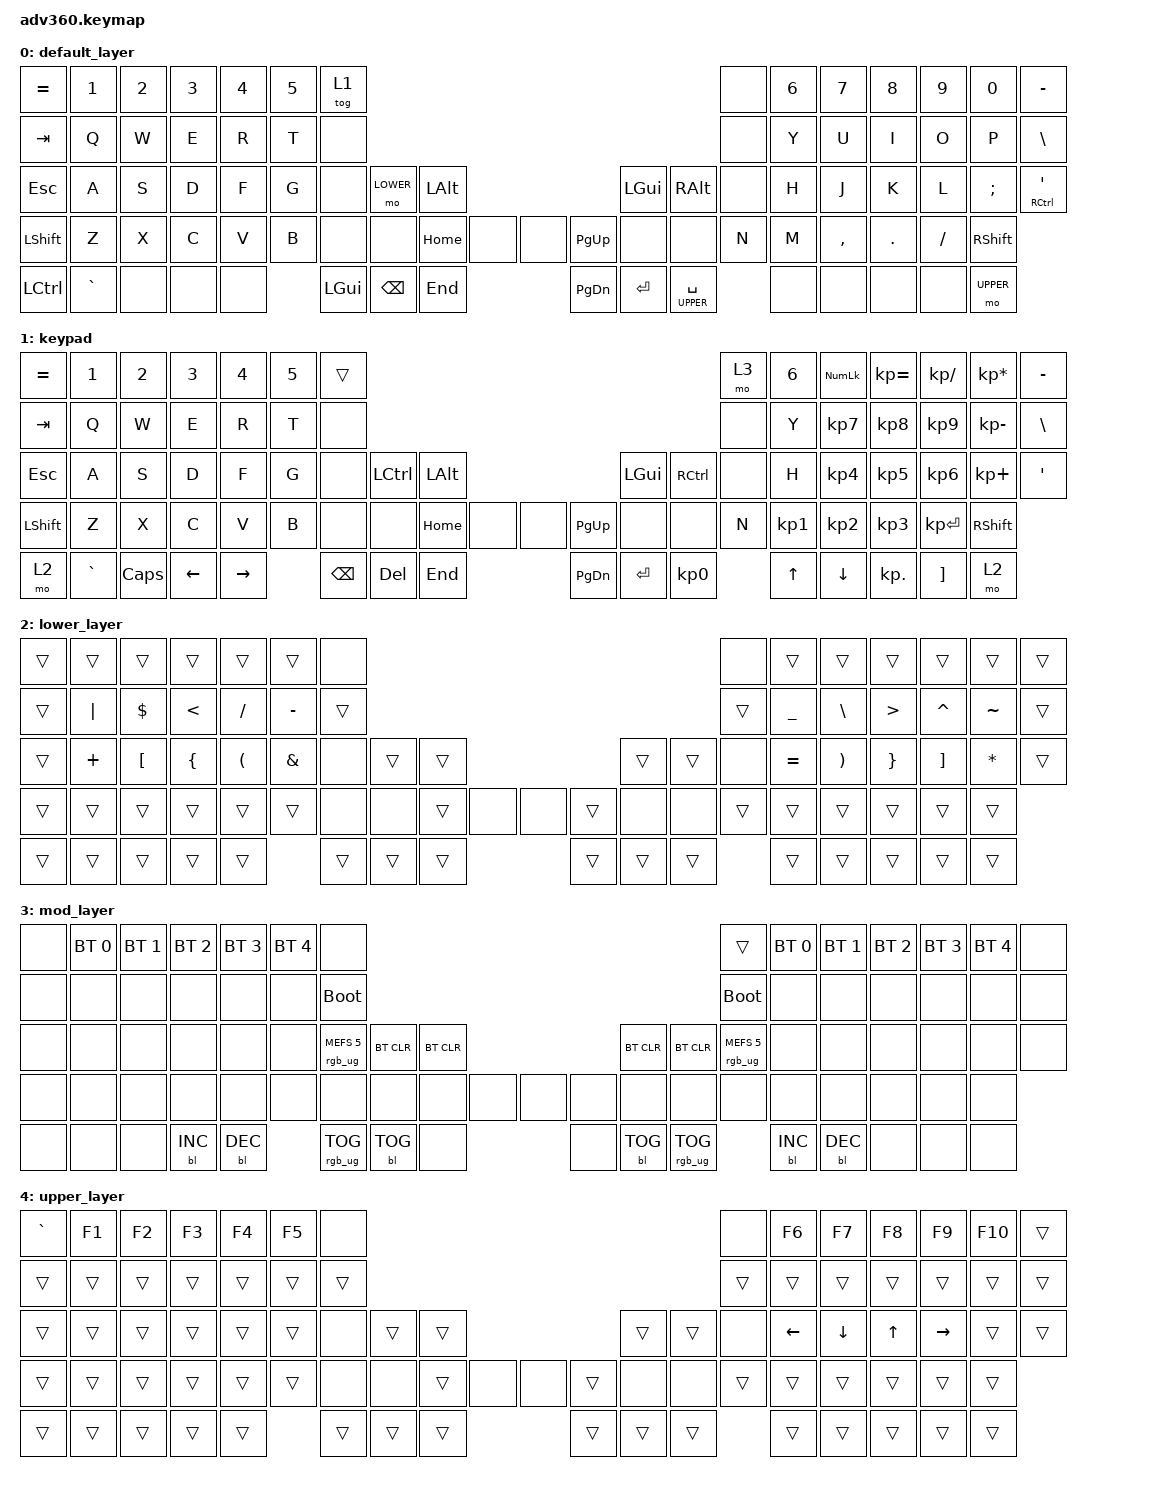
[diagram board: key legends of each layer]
#include <behaviors.dtsi>
#include <dt-bindings/zmk/keys.h>
#include <dt-bindings/zmk/bt.h>
#include <dt-bindings/zmk/rgb.h>
#include <dt-bindings/zmk/backlight.h>


#define DEFAULT 0
#define KEYPAD 1
#define LOWER 2
#define MOD 3
#define UPPER 4

#define MACLOCK      LG(LC(Q))
#define SPACE_RIGHT  LC(RIGHT)
#define SPACE_LEFT   LC(LEFT)
#define HYPER        LS(LC(LA(LGUI)))

&mt {
    tapping-term-ms = <210>;
    flavor = "tap-preferred";
};

&lt {
    quick_tap_ms = <200>;
};


/ {
    behaviors {
      #include "macros.dtsi"

      hm: homerow_mods {
          compatible = "zmk,behavior-hold-tap";
          label = "HOMEROW_MODS";
          #binding-cells = <2>;
          tapping-term-ms = <200>;
          quick_tap_ms = <175>;
          flavor = "tap-preferred";
          bindings = <&kp>, <&kp>;
      };
    };

  keymap {
    compatible = "zmk,keymap";

    default_layer {
      bindings = <
        &kp EQUAL &kp N1    &kp N2   &kp N3   &kp N4     &kp N5 &tog 1                                                                                   &none   &kp N6 &kp N7 &kp N8    &kp N9   &kp N0   &kp MINUS
        &kp TAB   &kp Q     &kp W    &kp E    &kp R      &kp T  &none                                                                                    &none   &kp Y  &kp U  &kp I     &kp O    &kp P    &kp BSLH
        &kp ESC   &kp A     &kp S    &kp D    &kp F      &kp G  &none           &mo LOWER   &kp LALT                    &kp LGUI  &kp RALT               &none   &kp H  &kp J  &kp K     &kp L    &kp SEMI &mt RCTRL SQT
        &kp LSHFT &kp Z     &kp X    &kp C    &kp V      &kp B         &none    &none       &kp HOME &none &none        &kp PG_UP &none     &none                &kp N  &kp M  &kp COMMA &kp DOT  &kp FSLH &kp RSHFT
        &kp LCTRL &kp GRAVE &none    &none    &none                    &kp LGUI &kp BSPC    &kp END                     &kp PG_DN &kp ENTER &lt UPPER SPACE             &none  &none     &none    &none    &mo UPPER
      >;
    };
    keypad {
      bindings = <
        &kp EQUAL &kp N1    &kp N2   &kp N3   &kp N4     &kp N5 &trans                                                                       &mo 3 &kp N6 &kp KP_NUM &kp KP_EQUAL &kp KP_DIVIDE &kp KP_MULTIPLY &kp MINUS
        &kp TAB   &kp Q     &kp W    &kp E    &kp R      &kp T  &none                                                                        &none &kp Y  &kp KP_N7  &kp KP_N8    &kp KP_N9     &kp KP_MINUS    &kp BSLH
        &kp ESC   &kp A     &kp S    &kp D    &kp F      &kp G  &none           &kp LCTRL &kp LALT             &kp LGUI  &kp RCTRL           &none &kp H  &kp KP_N4  &kp KP_N5    &kp KP_N6     &kp KP_PLUS     &kp SQT
        &kp LSHFT &kp Z     &kp X    &kp C    &kp V      &kp B         &none    &none     &kp HOME &none &none &kp PG_UP &none     &none           &kp N  &kp KP_N1  &kp KP_N2    &kp KP_N3     &kp KP_ENTER    &kp RSHFT
        &mo 2     &kp GRAVE &kp CAPS &kp LEFT &kp RIGHT                &kp BSPC &kp DEL   &kp END              &kp PG_DN &kp ENTER &kp KP_N0              &kp UP     &kp DOWN     &kp KP_DOT    &kp RBKT        &mo 2
      >;
    };

    lower_layer {

   // LOWER
   // -----------------------------------------------------------------------           -------------------------------------------------------------------------
   // |          |         |         |         |         |         |        |           |         |         |         |         |         |          |          |
   // |          |   "|"   |  DLLR   |    <    |    /    |    -    |        |           |         |    _    |    \    |    >    |    ^    |    ~     |          |
   // |          |    +    |  "["    |   "{"   |   "("   |    &    |        |           |         |    =    |   ")"   |   "}"   |   "]"   |    *     |          |
   // |          |         |         |         |         |         |---------           ----------|         |         |         |         |          |          |
   // |          |         |         |         |         |----------                              ----------|         |         |         |          |          |
   // ----------------------------------------------------                                                   ----------------------------------------------------
   //
       bindings = <
         &trans &trans   &trans     &trans   &trans    &trans     &none                                                        &none    &trans    &trans    &trans    &trans     &trans     &trans
         &trans &kp PIPE &kp DLLR   &kp LT   &kp SLASH &kp MINUS  &trans                                                       &trans   &kp UNDER &kp BSLH  &kp GT    &kp CARET  &kp TILDE  &trans
         &trans &kp PLUS &kp LBKT   &kp LBRC &kp LPAR  &kp AMPS   &none         &trans &trans             &trans &trans        &none    &kp EQUAL &kp RPAR  &kp RBRC  &kp RBKT   &kp ASTRK  &trans
         &trans &trans   &trans     &trans   &trans    &trans            &none  &none  &trans &none &none &trans &none  &none           &trans    &trans    &trans    &trans     &trans     &trans
         &trans &trans   &trans     &trans   &trans                      &trans &trans &trans             &trans &trans &trans                    &trans    &trans    &trans     &trans     &trans
       >;
     };

    mod_layer {
      bindings = <
        &none &bt BT_SEL 0 &bt BT_SEL 1 &bt BT_SEL 2 &bt BT_SEL 3 &bt BT_SEL 4 &none                                                                                                          &trans                 &bt BT_SEL 0 &bt BT_SEL 1 &bt BT_SEL 2 &bt BT_SEL 3 &bt BT_SEL 4 &none
        &none &none        &none        &none        &none        &none        &bootloader                                                                                                    &bootloader            &none        &none        &none        &none        &none        &none
        &none &none        &none        &none        &none        &none        &rgb_ug RGB_MEFS_CMD 5                 &bt BT_CLR &bt BT_CLR             &bt BT_CLR &bt BT_CLR                 &rgb_ug RGB_MEFS_CMD 5 &none        &none        &none        &none        &none        &none
        &none &none        &none        &none        &none        &none                               &none           &none      &none      &none &none &none      &none      &none                                  &none        &none        &none        &none        &none        &none
        &none &none        &none        &bl BL_INC   &bl BL_DEC                                       &rgb_ug RGB_TOG &bl BL_TOG &none                  &none      &bl BL_TOG &rgb_ug RGB_TOG                                     &bl BL_INC   &bl BL_DEC   &none        &none        &none
      >;
    };

    upper_layer {
// UPPER
// -----------------------------------------------------------------------           -------------------------------------------------------------------------
// |    ~     |   F1    |    F2   |   F3    |   F4    |   F5    |        |           |         |   F6    |   F7    |   F8    |   F9    |   F10    |          |
// |          |         |         |         |         |         |        |           |         |         |         |         |         |          |          |
// |          |         |         |         |         |         |        |           |         |  Left   |   Down  |   Up    |  Right  |          |          |
// |          |         |         |         |         |         |        |           |         |         |         |         |         |          |          |
// |          |         |         |         |         |         |---------           ----------|         |         |         |         |          |          |
// |          |         |         |         |         |----------                              ----------|         |         |         |          |          |
// ----------------------------------------------------                                                   ----------------------------------------------------
//
       bindings = <
         &kp GRAVE &kp F1   &kp F2     &kp F3   &kp F4    &kp F5     &none                                                        &none    &kp F6    &kp F7    &kp F8    &kp F9     &kp F10    &trans
         &trans    &trans   &trans     &trans   &trans    &trans     &trans                                                       &trans   &trans    &trans    &trans    &trans     &trans     &trans
         &trans    &trans   &trans     &trans   &trans    &trans     &none         &trans &trans             &trans &trans        &none    &kp LEFT  &kp DOWN  &kp UP    &kp RIGHT  &trans     &trans
         &trans    &trans   &trans     &trans   &trans    &trans            &none  &none  &trans &none &none &trans &none  &none           &trans    &trans    &trans    &trans     &trans     &trans
         &trans    &trans   &trans     &trans   &trans                      &trans &trans &trans             &trans &trans &trans                    &trans    &trans    &trans     &trans     &trans
       >;
    };



  };
};
